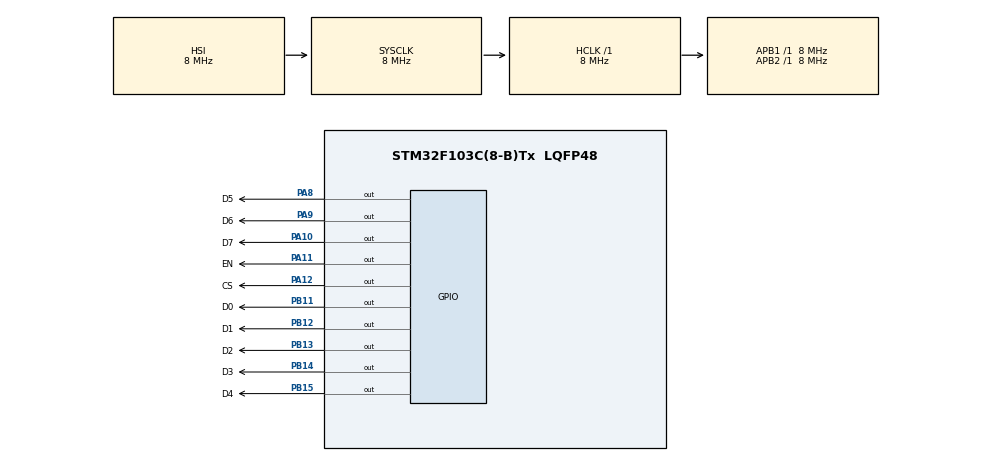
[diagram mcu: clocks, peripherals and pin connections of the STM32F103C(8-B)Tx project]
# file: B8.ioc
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Mcu.Family=STM32F1
Mcu.Name=STM32F103C(8-B)Tx
Mcu.Package=LQFP48
NVIC.PriorityGroup=NVIC_PRIORITYGROUP_4
NVIC.TIM2_IRQn=true\:0\:0\:false\:false\:true\:true\:true\:true
PA10.GPIO_Label=D7
PA10.Signal=GPIO_Output
PA11.GPIO_Label=EN
PA11.Signal=GPIO_Output
PA12.GPIO_Label=CS
PA12.Signal=GPIO_Output
PA13.Mode=Serial_Wire
PA13.Signal=SYS_JTMS-SWDIO
PA14.Mode=Serial_Wire
PA14.Signal=SYS_JTCK-SWCLK
PA8.GPIO_Label=D5
PA8.Signal=GPIO_Output
PA9.GPIO_Label=D6
PA9.Signal=GPIO_Output
PB11.GPIO_Label=D0
PB11.Signal=GPIO_Output
PB12.GPIO_Label=D1
PB12.Signal=GPIO_Output
PB13.GPIO_Label=D2
PB13.Signal=GPIO_Output
PB14.GPIO_Label=D3
PB14.Signal=GPIO_Output
PB15.GPIO_Label=D4
PB15.Signal=GPIO_Output
ProjectManager.HeapSize=0x200
ProjectManager.StackSize=0x400
ProjectManager.TargetToolchain=MDK-ARM V5.32
RCC.AHBFreq_Value=8000000
RCC.APB1Freq_Value=8000000
RCC.APB1TimFreq_Value=8000000
RCC.APB2Freq_Value=8000000
RCC.APB2TimFreq_Value=8000000
RCC.HCLKFreq_Value=8000000
RCC.SYSCLKFreq_VALUE=8000000
RCC.USBFreq_Value=8000000
TIM2.Period=9999
TIM2.Prescaler=1599
VP_TIM2_VS_ClockSourceINT.Mode=Internal
board=custom

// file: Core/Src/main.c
/* USER CODE BEGIN Header */
/**
  ******************************************************************************
  * @file           : main.c
  * @brief          : Main program body
  ******************************************************************************
  * @attention
  *
  * Copyright (c) 2022 STMicroelectronics.
  * All rights reserved.
  *
  * This software is licensed under terms that can be found in the LICENSE file
  * in the root directory of this software component.
  * If no LICENSE file comes with this software, it is provided AS-IS.
  *
  ******************************************************************************
  */
/* USER CODE END Header */
#include "main.h"

/* USER CODE BEGIN Includes */
#include "CLCD.h"
#include <stdio.h>
/* USER CODE END Includes */

TIM_HandleTypeDef htim2;

/* USER CODE BEGIN PV */

CLCD_Name LCD1;

char LCD_send[16];
int phut = 59 ;
int giay= 50 ;

/* USER CODE END PV */

void SystemClock_Config(void);
static void MX_GPIO_Init(void);
static void MX_TIM2_Init(void);

/* USER CODE BEGIN 0 */
//////////////////// DUNG TIM2

void HAL_TIM_PeriodElapsedCallback(TIM_HandleTypeDef *htim)
{
 if(htim->Instance == htim2.Instance)
 {
   giay++;
	 if(giay == 60)
	 {
		 phut++;
		 giay = 0;
	 }
	 if(phut == 60)
	 {
		 phut = 0 ;
		 giay = 0 ;
	 }
 }
}

/////////////////////////////
/* USER CODE END 0 */
int main(void)
{

  /* MCU Configuration--------------------------------------------------------*/

  /* Reset of all peripherals, Initializes the Flash interface and the Systick. */
  HAL_Init();

  /* Configure the system clock */
  SystemClock_Config();

  /* Initialize all configured peripherals */
  MX_GPIO_Init();
  MX_TIM2_Init();
  /* USER CODE BEGIN 2 */
	CLCD_4BIT_Init(&LCD1, 16, 2, CS_GPIO_Port, CS_Pin, EN_GPIO_Port, EN_Pin,
									D4_GPIO_Port, D4_Pin, D5_GPIO_Port, D5_Pin,
									D6_GPIO_Port, D6_Pin, D7_GPIO_Port, D7_Pin);
	HAL_TIM_Base_Start_IT(&htim2);
  /* USER CODE END 2 */

  /* Infinite loop */
  while (1)
  {

    /* USER CODE BEGIN 3 */
/////////////////////////////////// DUNG TIMER

			CLCD_SetCursor(&LCD1, 0, 0);
			CLCD_WriteString(&LCD1, "DEM Timer:");
			CLCD_SetCursor(&LCD1, 5,1);
			if(phut <10)
			{
				sprintf(LCD_send,"0%d:", phut);
			}else
			{
				sprintf(LCD_send,"%2d:", phut);
			}
			CLCD_WriteString(&LCD1, LCD_send);
			CLCD_SetCursor(&LCD1, 8,1);
			if(giay <10)
			{
				sprintf(LCD_send,"0%d", giay);
			}else
			{
				sprintf(LCD_send,"%2d", giay);
			}
			CLCD_WriteString(&LCD1, LCD_send);

////////////////////////////////////////	DUNG HAL_Delay
		/*
				giay++;
				if(giay == 60)
				{
					phut++;
					giay = 0 ;
				}
				if(phut ==60)
				{
					phut =0;
					giay =0;
			}
				CLCD_SetCursor(&LCD1, 0,0);
				CLCD_WriteString(&LCD1, "DEM HAL:");
		    sprintf(LCD_send, "%2d:%2d",phut,giay);
				CLCD_SetCursor(&LCD1, 0,1);
				CLCD_WriteString(&LCD1, LCD_send);
				HAL_Delay(1000);
			*/
/////////////////////////////
  }
  /* USER CODE END 3 */
}

void SystemClock_Config(void)
{
  RCC_OscInitTypeDef RCC_OscInitStruct = {0};
  RCC_ClkInitTypeDef RCC_ClkInitStruct = {0};

  /** Initializes the RCC Oscillators according to the specified parameters
  * in the RCC_OscInitTypeDef structure.
  */
  RCC_OscInitStruct.OscillatorType = RCC_OSCILLATORTYPE_HSI;
  RCC_OscInitStruct.HSIState = RCC_HSI_ON;
  RCC_OscInitStruct.HSICalibrationValue = RCC_HSICALIBRATION_DEFAULT;
  RCC_OscInitStruct.PLL.PLLState = RCC_PLL_NONE;
  if (HAL_RCC_OscConfig(&RCC_OscInitStruct) != HAL_OK)
  {
    Error_Handler();
  }

  /** Initializes the CPU, AHB and APB buses clocks
  */
  RCC_ClkInitStruct.ClockType = RCC_CLOCKTYPE_HCLK|RCC_CLOCKTYPE_SYSCLK
                              |RCC_CLOCKTYPE_PCLK1|RCC_CLOCKTYPE_PCLK2;
  RCC_ClkInitStruct.SYSCLKSource = RCC_SYSCLKSOURCE_HSI;
  RCC_ClkInitStruct.AHBCLKDivider = RCC_SYSCLK_DIV1;
  RCC_ClkInitStruct.APB1CLKDivider = RCC_HCLK_DIV1;
  RCC_ClkInitStruct.APB2CLKDivider = RCC_HCLK_DIV1;

  if (HAL_RCC_ClockConfig(&RCC_ClkInitStruct, FLASH_LATENCY_0) != HAL_OK)
  {
    Error_Handler();
  }
}

static void MX_TIM2_Init(void)
{

  TIM_ClockConfigTypeDef sClockSourceConfig = {0};
  TIM_MasterConfigTypeDef sMasterConfig = {0};

  htim2.Instance = TIM2;
  htim2.Init.Prescaler = 1599;
  htim2.Init.CounterMode = TIM_COUNTERMODE_UP;
  htim2.Init.Period = 4999;
  htim2.Init.ClockDivision = TIM_CLOCKDIVISION_DIV1;
  htim2.Init.AutoReloadPreload = TIM_AUTORELOAD_PRELOAD_DISABLE;
  if (HAL_TIM_Base_Init(&htim2) != HAL_OK)
  {
    Error_Handler();
  }
  sClockSourceConfig.ClockSource = TIM_CLOCKSOURCE_INTERNAL;
  if (HAL_TIM_ConfigClockSource(&htim2, &sClockSourceConfig) != HAL_OK)
  {
    Error_Handler();
  }
  sMasterConfig.MasterOutputTrigger = TIM_TRGO_RESET;
  sMasterConfig.MasterSlaveMode = TIM_MASTERSLAVEMODE_DISABLE;
  if (HAL_TIMEx_MasterConfigSynchronization(&htim2, &sMasterConfig) != HAL_OK)
  {
    Error_Handler();
  }

}

static void MX_GPIO_Init(void)
{
  GPIO_InitTypeDef GPIO_InitStruct = {0};

  /* GPIO Ports Clock Enable */
  __HAL_RCC_GPIOB_CLK_ENABLE();
  __HAL_RCC_GPIOA_CLK_ENABLE();

  /*Configure GPIO pin Output Level */
  HAL_GPIO_WritePin(GPIOB, D0_Pin|D1_Pin|D2_Pin|D3_Pin
                          |D4_Pin, GPIO_PIN_RESET);

  /*Configure GPIO pin Output Level */
  HAL_GPIO_WritePin(GPIOA, D5_Pin|D6_Pin|D7_Pin|EN_Pin
                          |CS_Pin, GPIO_PIN_RESET);

  /*Configure GPIO pins : D0_Pin D1_Pin D2_Pin D3_Pin
                           D4_Pin */
  GPIO_InitStruct.Pin = D0_Pin|D1_Pin|D2_Pin|D3_Pin
                          |D4_Pin;
  GPIO_InitStruct.Mode = GPIO_MODE_OUTPUT_PP;
  GPIO_InitStruct.Pull = GPIO_NOPULL;
  GPIO_InitStruct.Speed = GPIO_SPEED_FREQ_LOW;
  HAL_GPIO_Init(GPIOB, &GPIO_InitStruct);

  /*Configure GPIO pins : D5_Pin D6_Pin D7_Pin EN_Pin
                           CS_Pin */
  GPIO_InitStruct.Pin = D5_Pin|D6_Pin|D7_Pin|EN_Pin
                          |CS_Pin;
  GPIO_InitStruct.Mode = GPIO_MODE_OUTPUT_PP;
  GPIO_InitStruct.Pull = GPIO_NOPULL;
  GPIO_InitStruct.Speed = GPIO_SPEED_FREQ_LOW;
  HAL_GPIO_Init(GPIOA, &GPIO_InitStruct);

}

void Error_Handler(void)
{
  __disable_irq();
  while (1)
  {
  }
}
